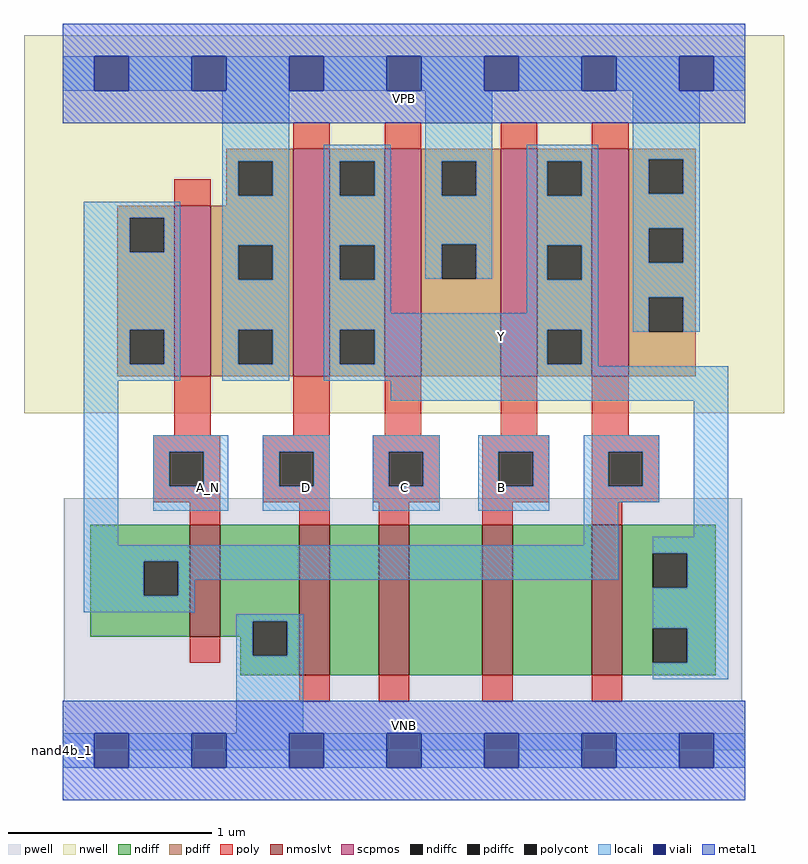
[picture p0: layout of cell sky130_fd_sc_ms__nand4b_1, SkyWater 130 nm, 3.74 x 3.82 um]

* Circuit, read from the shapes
.subckt sky130_fd_sc_ms__nand4b_1 A_N B C D VGND VNB VPB VPWR Y
XM1 VGND A_N n1 VNB sky130_fd_pr__nfet_01v8_lvt w=0.55 l=0.15
XM2 n2 D VGND VNB sky130_fd_pr__nfet_01v8_lvt w=0.74 l=0.15
XM3 n3 C n2 VNB sky130_fd_pr__nfet_01v8_lvt w=0.74 l=0.15
XM4 n4 B n3 VNB sky130_fd_pr__nfet_01v8_lvt w=0.74 l=0.15
XM5 Y n1 n4 VNB sky130_fd_pr__nfet_01v8_lvt w=0.74 l=0.15
XM6 VPWR A_N n1 VPB sky130_fd_pr__pfet_01v8 w=0.84 l=0.18
XM7 Y D VPWR VPB sky130_fd_pr__pfet_01v8 w=1.12 l=0.18
XM8 VPWR C Y VPB sky130_fd_pr__pfet_01v8 w=1.12 l=0.18
XM9 Y B VPWR VPB sky130_fd_pr__pfet_01v8 w=1.12 l=0.18
XM10 VPWR n1 Y VPB sky130_fd_pr__pfet_01v8 w=1.12 l=0.18
.ends

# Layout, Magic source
magic
tech sky130A
magscale 1 2
<< nwell >>
rect -38 332 710 704
<< pwell >>
rect 1 49 669 248
rect 0 0 672 49
<< scpmos >>
rect 110 368 146 536
rect 227 368 263 592
rect 317 368 353 592
rect 431 368 467 592
rect 521 368 557 592
<< nmoslvt >>
rect 125 112 155 222
rect 233 74 263 222
rect 311 74 341 222
rect 413 74 443 222
rect 521 74 551 222
<< ndiff >>
rect 27 186 125 222
rect 27 152 80 186
rect 114 152 125 186
rect 27 112 125 152
rect 155 127 233 222
rect 155 112 187 127
rect 175 93 187 112
rect 221 93 233 127
rect 175 74 233 93
rect 263 74 311 222
rect 341 74 413 222
rect 443 74 521 222
rect 551 194 643 222
rect 551 160 581 194
rect 615 160 643 194
rect 551 120 643 160
rect 551 86 581 120
rect 615 86 643 120
rect 551 74 643 86
<< pdiff >>
rect 161 580 227 592
rect 161 546 173 580
rect 207 546 227 580
rect 161 536 227 546
rect 54 524 110 536
rect 54 490 66 524
rect 100 490 110 524
rect 54 414 110 490
rect 54 380 66 414
rect 100 380 110 414
rect 54 368 110 380
rect 146 497 227 536
rect 146 463 173 497
rect 207 463 227 497
rect 146 414 227 463
rect 146 380 173 414
rect 207 380 227 414
rect 146 368 227 380
rect 263 580 317 592
rect 263 546 273 580
rect 307 546 317 580
rect 263 497 317 546
rect 263 463 273 497
rect 307 463 317 497
rect 263 414 317 463
rect 263 380 273 414
rect 307 380 317 414
rect 263 368 317 380
rect 353 580 431 592
rect 353 546 373 580
rect 407 546 431 580
rect 353 498 431 546
rect 353 464 373 498
rect 407 464 431 498
rect 353 368 431 464
rect 467 580 521 592
rect 467 546 477 580
rect 511 546 521 580
rect 467 497 521 546
rect 467 463 477 497
rect 511 463 521 497
rect 467 414 521 463
rect 467 380 477 414
rect 511 380 521 414
rect 467 368 521 380
rect 557 582 623 592
rect 557 548 577 582
rect 611 548 623 582
rect 557 514 623 548
rect 557 480 577 514
rect 611 480 623 514
rect 557 446 623 480
rect 557 412 577 446
rect 611 412 623 446
rect 557 368 623 412
<< ndiffc >>
rect 80 152 114 186
rect 187 93 221 127
rect 581 160 615 194
rect 581 86 615 120
<< pdiffc >>
rect 173 546 207 580
rect 66 490 100 524
rect 66 380 100 414
rect 173 463 207 497
rect 173 380 207 414
rect 273 546 307 580
rect 273 463 307 497
rect 273 380 307 414
rect 373 546 407 580
rect 373 464 407 498
rect 477 546 511 580
rect 477 463 511 497
rect 477 380 511 414
rect 577 548 611 582
rect 577 480 611 514
rect 577 412 611 446
<< poly >>
rect 227 592 263 618
rect 317 592 353 618
rect 431 592 467 618
rect 521 592 557 618
rect 110 536 146 562
rect 110 310 146 368
rect 227 310 263 368
rect 317 310 353 368
rect 431 310 467 368
rect 521 310 557 368
rect 89 294 155 310
rect 89 260 105 294
rect 139 260 155 294
rect 89 244 155 260
rect 197 294 263 310
rect 197 260 213 294
rect 247 260 263 294
rect 197 244 263 260
rect 305 294 371 310
rect 305 260 321 294
rect 355 260 371 294
rect 305 244 371 260
rect 413 294 479 310
rect 413 260 429 294
rect 463 260 479 294
rect 413 244 479 260
rect 521 294 587 310
rect 521 260 537 294
rect 571 260 587 294
rect 521 244 587 260
rect 125 222 155 244
rect 233 222 263 244
rect 311 222 341 244
rect 413 222 443 244
rect 521 222 551 244
rect 125 86 155 112
rect 233 48 263 74
rect 311 48 341 74
rect 413 48 443 74
rect 521 48 551 74
<< polycont >>
rect 105 260 139 294
rect 213 260 247 294
rect 321 260 355 294
rect 429 260 463 294
rect 537 260 571 294
<< locali >>
rect 0 649 31 683
rect 65 649 127 683
rect 161 649 223 683
rect 257 649 319 683
rect 353 649 415 683
rect 449 649 511 683
rect 545 649 607 683
rect 641 649 672 683
rect 157 580 223 649
rect 157 546 173 580
rect 207 546 223 580
rect 21 524 116 540
rect 21 490 66 524
rect 100 490 116 524
rect 21 414 116 490
rect 21 380 66 414
rect 100 380 116 414
rect 21 364 116 380
rect 157 497 223 546
rect 157 463 173 497
rect 207 463 223 497
rect 157 414 223 463
rect 157 380 173 414
rect 207 380 223 414
rect 157 364 223 380
rect 257 580 323 596
rect 257 546 273 580
rect 307 546 323 580
rect 257 497 323 546
rect 257 463 273 497
rect 307 463 323 497
rect 357 580 423 649
rect 357 546 373 580
rect 407 546 423 580
rect 357 498 423 546
rect 357 464 373 498
rect 407 464 423 498
rect 457 580 527 596
rect 457 546 477 580
rect 511 546 527 580
rect 457 497 527 546
rect 257 430 323 463
rect 457 463 477 497
rect 511 463 527 497
rect 457 430 527 463
rect 257 414 527 430
rect 257 380 273 414
rect 307 380 477 414
rect 511 380 527 414
rect 561 582 627 649
rect 561 548 577 582
rect 611 548 627 582
rect 561 514 627 548
rect 561 480 577 514
rect 611 480 627 514
rect 561 446 627 480
rect 561 412 577 446
rect 611 412 627 446
rect 257 378 527 380
rect 257 364 655 378
rect 21 202 55 364
rect 323 344 655 364
rect 89 294 163 310
rect 89 260 105 294
rect 139 260 163 294
rect 89 236 163 260
rect 197 294 263 310
rect 197 260 213 294
rect 247 260 263 294
rect 197 236 263 260
rect 305 294 371 310
rect 305 260 321 294
rect 355 260 371 294
rect 305 236 371 260
rect 409 294 479 310
rect 409 260 429 294
rect 463 260 479 294
rect 409 236 479 260
rect 513 294 587 310
rect 513 260 537 294
rect 571 260 587 294
rect 513 244 587 260
rect 513 202 547 244
rect 621 210 655 344
rect 21 186 547 202
rect 21 152 80 186
rect 114 168 547 186
rect 581 194 655 210
rect 114 152 130 168
rect 21 136 130 152
rect 615 160 655 194
rect 171 127 237 134
rect 171 93 187 127
rect 221 93 237 127
rect 171 17 237 93
rect 581 120 655 160
rect 615 86 655 120
rect 581 70 655 86
rect 0 -17 31 17
rect 65 -17 127 17
rect 161 -17 223 17
rect 257 -17 319 17
rect 353 -17 415 17
rect 449 -17 511 17
rect 545 -17 607 17
rect 641 -17 672 17
<< viali >>
rect 31 649 65 683
rect 127 649 161 683
rect 223 649 257 683
rect 319 649 353 683
rect 415 649 449 683
rect 511 649 545 683
rect 607 649 641 683
rect 31 -17 65 17
rect 127 -17 161 17
rect 223 -17 257 17
rect 319 -17 353 17
rect 415 -17 449 17
rect 511 -17 545 17
rect 607 -17 641 17
<< metal1 >>
rect 0 683 672 715
rect 0 649 31 683
rect 65 649 127 683
rect 161 649 223 683
rect 257 649 319 683
rect 353 649 415 683
rect 449 649 511 683
rect 545 649 607 683
rect 641 649 672 683
rect 0 617 672 649
rect 0 17 672 49
rect 0 -17 31 17
rect 65 -17 127 17
rect 161 -17 223 17
rect 257 -17 319 17
rect 353 -17 415 17
rect 449 -17 511 17
rect 545 -17 607 17
rect 641 -17 672 17
rect 0 -49 672 -17
<< labels >>
flabel pwell s 0 0 672 49 0 FreeSans 200 0 0 0 VNB
port 6 nsew ground bidirectional
flabel nwell s 0 617 672 666 0 FreeSans 200 0 0 0 VPB
port 7 nsew power bidirectional
rlabel comment s 0 0 0 0 4 nand4b_1
flabel metal1 s 0 617 672 666 0 FreeSans 340 0 0 0 VPWR
port 8 nsew power bidirectional
flabel metal1 s 0 0 672 49 0 FreeSans 340 0 0 0 VGND
port 5 nsew ground bidirectional
flabel locali s 127 242 161 276 0 FreeSans 340 0 0 0 A_N
port 1 nsew signal input
flabel locali s 223 242 257 276 0 FreeSans 340 0 0 0 D
port 4 nsew signal input
flabel locali s 415 390 449 424 0 FreeSans 340 0 0 0 Y
port 9 nsew signal output
flabel locali s 319 242 353 276 0 FreeSans 340 0 0 0 C
port 3 nsew signal input
flabel locali s 415 242 449 276 0 FreeSans 340 0 0 0 B
port 2 nsew signal input
<< properties >>
string LEFsite unit
string LEFclass CORE
string FIXED_BBOX 0 0 672 666
string GDS_FILE $PDKPATH/libs.ref/sky130_fd_sc_ms/gds/sky130_fd_sc_ms.gds
string LEFsymmetry X Y
string GDS_END 756788
string GDS_START 750942
<< end >>
